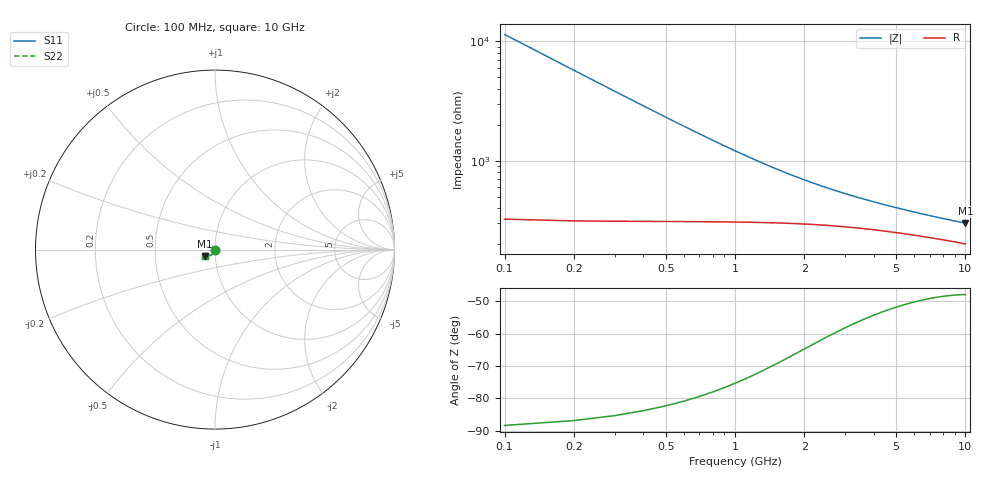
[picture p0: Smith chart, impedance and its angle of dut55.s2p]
! Touchstone file exported from HFSS 2024.1.0
!  File:  C:/UserFiles/LocalFiles/RDL_TSV_Batchsim/temp_TSV1_55_1778749016.aedt
!  Generated:  05:01:52 PM May 14, 2026
!  Design:  TSV1
!  Project:  temp_TSV1_55_1778749016
!  Setup:  Setup1
!  Solution:  Sweep
! Variables:
!  dtsv = 19.08um
!  hbump = 3um
!  htsv = 60.19um
!  lrdl = 252.1521522um
!  p = 40
!  p1 = 51.1um
!  t = 500um
!  trdl = 3um
!  wrdl = 24.89489489um
# GHz S MA R 50.000000
! Terminal data exported
! Port[1] = TSV22_T1
! Port[2] = TSV22_T2
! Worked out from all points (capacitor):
!   100 points, 100 MHz to 10 GHz, reference 50 ohm
!   read as one part in shunt: C = 139 fF near 100 MHz
!   lowest |Z| = 299 ohm at 10 GHz (marker M1)
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0.1  0.001937 -89.9  0.9999 -0.1  0.9999 -0.1  0.001937 -89.9
! Gamma 0 0 0 0
! Port Impedance 50 0 50 0
0.2  0.003865 -92.7  0.9997 -0.3  0.9997 -0.3  0.003865 -92.7
0.3  0.005778 -94.8  0.9994 -0.4  0.9994 -0.4  0.005778 -94.8
0.4  0.007668 -96.7  0.9989 -0.6  0.9989 -0.6  0.007668 -96.7
0.5  0.00953 -98.6  0.9984 -0.7  0.9984 -0.7  0.00953 -98.6
0.6  0.01136 -100.4  0.9977 -0.8  0.9977 -0.8  0.01136 -100.4
0.7  0.01314 -102.1  0.997 -0.9  0.997 -0.9  0.01314 -102.1
0.8  0.01489 -103.8  0.9962 -1.1  0.9962 -1.1  0.01489 -103.8
0.9  0.01658 -105.4  0.9953 -1.2  0.9953 -1.2  0.01658 -105.4
1.1  0.01981 -108.5  0.9934 -1.4  0.9934 -1.4  0.01981 -108.5
1.4  0.02425 -112.8  0.9903 -1.7  0.9903 -1.7  0.02425 -112.8
1.6  0.02693 -115.4  0.9882 -1.8  0.9882 -1.8  0.02693 -115.4
1.8  0.0294 -117.8  0.9861 -2.0  0.9861 -2.0  0.0294 -117.8
2.1  0.03274 -121.0  0.983 -2.2  0.983 -2.2  0.03274 -121.0
2.5  0.03659 -124.7  0.9792 -2.4  0.9792 -2.4  0.03659 -124.7
2.9  0.03988 -127.8  0.9757 -2.6  0.9757 -2.6  0.03988 -127.8
3.4  0.04337 -131.0  0.9718 -2.8  0.9718 -2.8  0.04337 -131.0
4.2  0.04795 -134.9  0.9664 -3.1  0.9664 -3.1  0.04795 -134.9
5.1  0.05209 -138.2  0.9615 -3.3  0.9615 -3.3  0.05209 -138.2
6.7  0.05777 -142.3  0.9546 -3.8  0.9546 -3.8  0.05777 -142.3
8.4  0.06222 -145.4  0.9493 -4.2  0.9493 -4.2  0.06222 -145.4
10  0.06534 -147.6  0.9455 -4.6  0.9455 -4.6  0.06534 -147.6
